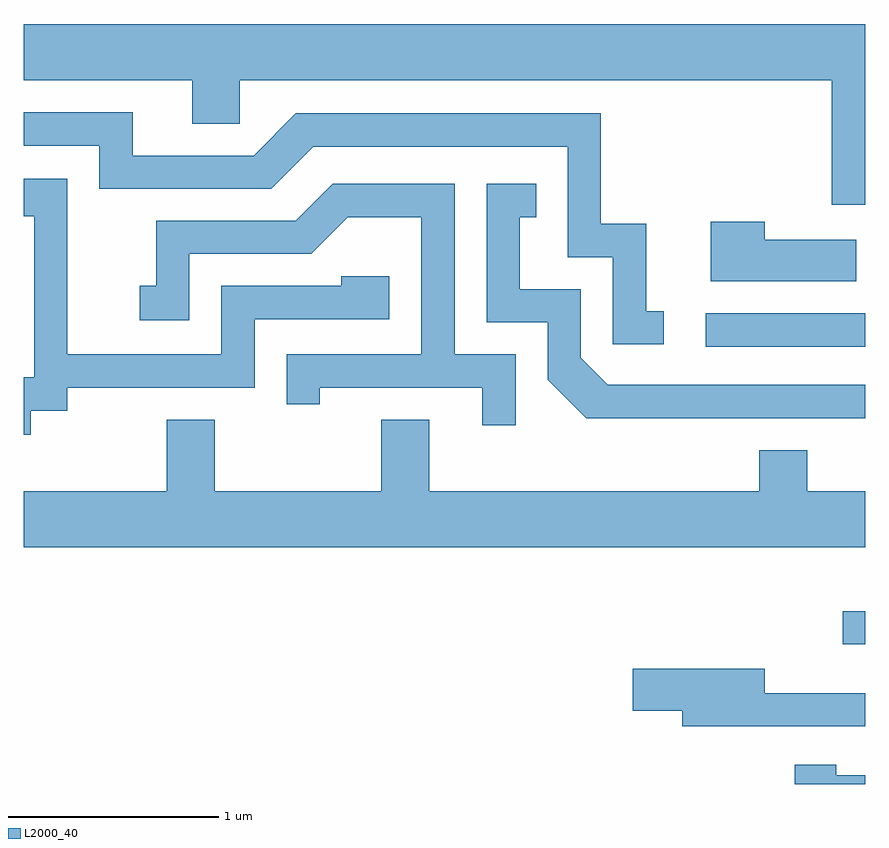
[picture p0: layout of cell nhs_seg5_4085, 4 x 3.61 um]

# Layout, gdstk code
import gdstk
lib = gdstk.Library(unit=1e-6, precision=1e-09)
def R(c, l, rs):  # rectangles x0, y0, x1, y1
    for r in rs: c.add(gdstk.rectangle(r[:2], r[2:], *l))
def P(c, l, *ps):  # polygons
    for p in ps: c.add(gdstk.Polygon(p, *l))
L2000_40 = (2000, 40)

nhs_seg5_4085 = lib.new_cell('nhs_seg5_4085')
R(nhs_seg5_4085, L2000_40, [(309.503,1500.736,309.611,1500.894), (308.853,1502.151,309.611,1502.309)])
P(nhs_seg5_4085, L2000_40, [(309.611,1503.684),(305.611,1503.684),(305.611,1503.416),(306.411,1503.416),(306.411,1503.211),(306.639,1503.211),(306.639,1503.416),(309.451,1503.416),(309.451,1502.826),(309.611,1502.826)],
  [(308.653,1502.319),(308.569,1502.319),(308.569,1502.734),(308.354,1502.734),(308.354,1503.259),(306.904,1503.259),(306.704,1503.059),(306.129,1503.059),(306.129,1503.264),(305.611,1503.264),(305.611,1503.106),(305.971,1503.106),(305.971,1502.901),(306.787,1502.901),(306.987,1503.101),(308.196,1503.101),(308.196,1502.576),(308.411,1502.576),(308.411,1502.161),(308.653,1502.161)],
  [(305.644,1501.846),(305.819,1501.846),(305.819,1501.956),(306.709,1501.956),(306.709,1502.281),(307.349,1502.281),(307.349,1502.484),(307.121,1502.484),(307.121,1502.439),(306.551,1502.439),(306.551,1502.114),(305.819,1502.114),(305.819,1502.949),(305.611,1502.949),(305.611,1502.771),(305.661,1502.771),(305.661,1502.004),(305.611,1502.004),(305.611,1501.733),(305.644,1501.733)],
  [(307.949,1502.114),(307.659,1502.114),(307.659,1502.924),(307.079,1502.924),(306.904,1502.749),(306.241,1502.749),(306.241,1502.439),(306.163,1502.439),(306.163,1502.276),(306.399,1502.276),(306.399,1502.591),(306.977,1502.591),(307.152,1502.766),(307.501,1502.766),(307.501,1502.114),(306.861,1502.114),(306.861,1501.878),(307.019,1501.878),(307.019,1501.956),(307.791,1501.956),(307.791,1501.778),(307.949,1501.778)],
  [(309.611,1501.969),(308.387,1501.969),(308.259,1502.097),(308.259,1502.424),(307.969,1502.424),(307.969,1502.766),(308.048,1502.766),(308.048,1502.924),(307.811,1502.924),(307.811,1502.266),(308.101,1502.266),(308.101,1501.994),(308.284,1501.811),(309.611,1501.811)],
  [(309.569,1502.659),(309.134,1502.659),(309.134,1502.744),(308.876,1502.744),(308.876,1502.461),(309.569,1502.461)],
  [(309.611,1501.464),(309.334,1501.464),(309.334,1501.659),(309.106,1501.659),(309.106,1501.464),(307.539,1501.464),(307.539,1501.804),(307.311,1501.804),(307.311,1501.464),(306.519,1501.464),(306.519,1501.804),(306.291,1501.804),(306.291,1501.464),(305.611,1501.464),(305.611,1501.196),(309.611,1501.196)],
  [(309.611,1500.504),(309.134,1500.504),(309.134,1500.619),(308.506,1500.619),(308.506,1500.421),(308.741,1500.421),(308.741,1500.346),(309.611,1500.346)],
  [(309.611,1500.114),(309.474,1500.114),(309.474,1500.164),(309.276,1500.164),(309.276,1500.072),(309.611,1500.072)])

lib.write_gds('nhs_seg5_4085.gds')
